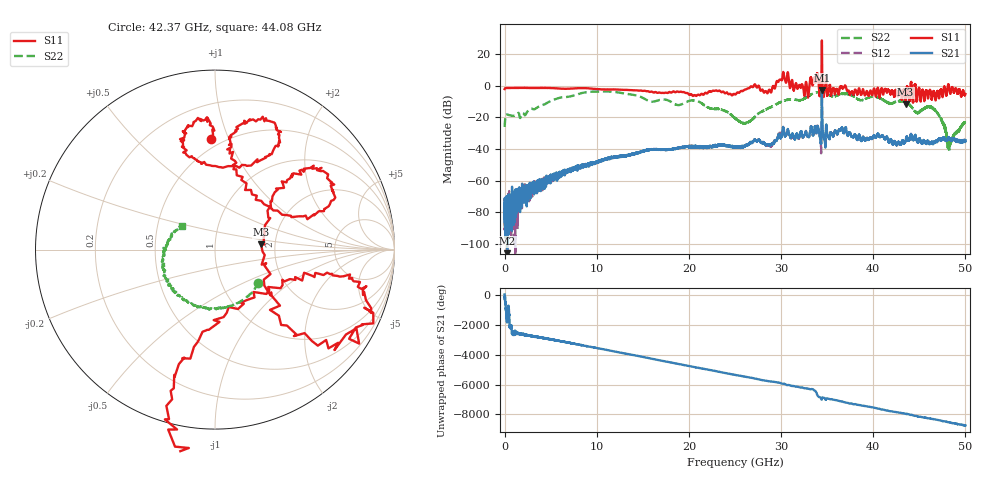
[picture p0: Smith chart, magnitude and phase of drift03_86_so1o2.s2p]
!Created with skrf (http://scikit-rf.org).
# Hz S RI R 50.0
!freq ReS11 ImS11 ReS21 ImS21 ReS12 ImS12 ReS22 ImS22
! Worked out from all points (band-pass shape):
!   10000 points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, 5.3 MHz to 50 GHz, reference 50 ohm
!   highest |S21| = -2.74 dB at 34.43 GHz (marker M1); lowest = -105.8 dB at 295.3 MHz (marker M2)
!   |S21| within 3 dB of the highest: 34.42758 GHz to 34.43529 GHz (7.703 MHz wide, 0.0224 % of centre)
!   lowest |S11| = -11.8 dB at 43.52 GHz (marker M3), VSWR 1.70, Z = 84.3 + j5.32 ohm
!   |S11| at or under -10 dB: 43.48438 GHz to 43.54286 GHz (58.48 MHz wide, 0.134 % of centre); 44.29926 GHz to 44.31768 GHz (18.42 MHz wide, 0.0416 % of centre); 44.32431 GHz to 44.33233 GHz (8.018 MHz wide, 0.0181 % of centre) (the widest 3 of 4)
!   |S22| runs from -42.0 to -3.6 dB; largest |S21 - S12| = 0.23
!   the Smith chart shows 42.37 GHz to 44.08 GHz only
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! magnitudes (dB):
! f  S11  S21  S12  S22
! 5.3 MHz  -2.1  -74.4  -71.2  -26.1
! 295.3 MHz  -1.4  -105.8  -80.5  -18.2
! 2.115 GHz  -1.3  -66.2  -67.2  -18.0
! 8.34 GHz  -1.5  -51.0  -50.7  -4.7
! 16.67 GHz  -4.4  -40.5  -40.2  -9.2
! 20.75 GHz  -6.3  -38.5  -38.9  -9.3
! 25.01 GHz  -5.5  -39.1  -38.8  -20.5
! 26.27 GHz  -2.1  -37.4  -37.3  -23.4
! 28.72 GHz  -2.5  -37.7  -37.6  -14.0
! 30.14 GHz  4.4  -29.5  -29.6  -9.9
! 32.74 GHz  2.0  -29.4  -29.2  -7.4
! 33.34 GHz  2.5  -27.4  -27.6  -5.3
! 33.82 GHz  4.0  -29.0  -29.5  -4.2
! 34.43 GHz  28.6  -2.7  -4.9  -3.9
! 36.48 GHz  -0.6  -28.1  -28.0  -5.2
! 41.67 GHz  -2.9  -35.4  -35.3  -11.1
! 43.52 GHz  -11.8  -34.7  -34.6  -10.4
! 44.74 GHz  -9.1  -34.7  -34.6  -17.2
! 46.65 GHz  -4.6  -35.7  -35.7  -14.8
! 47.57 GHz  -5.9  -33.5  -33.8  -23.7
! 48.28 GHz  -2.5  -33.6  -33.5  -38.1
! 50 GHz  -5.2  -34.4  -35.1  -23.0
